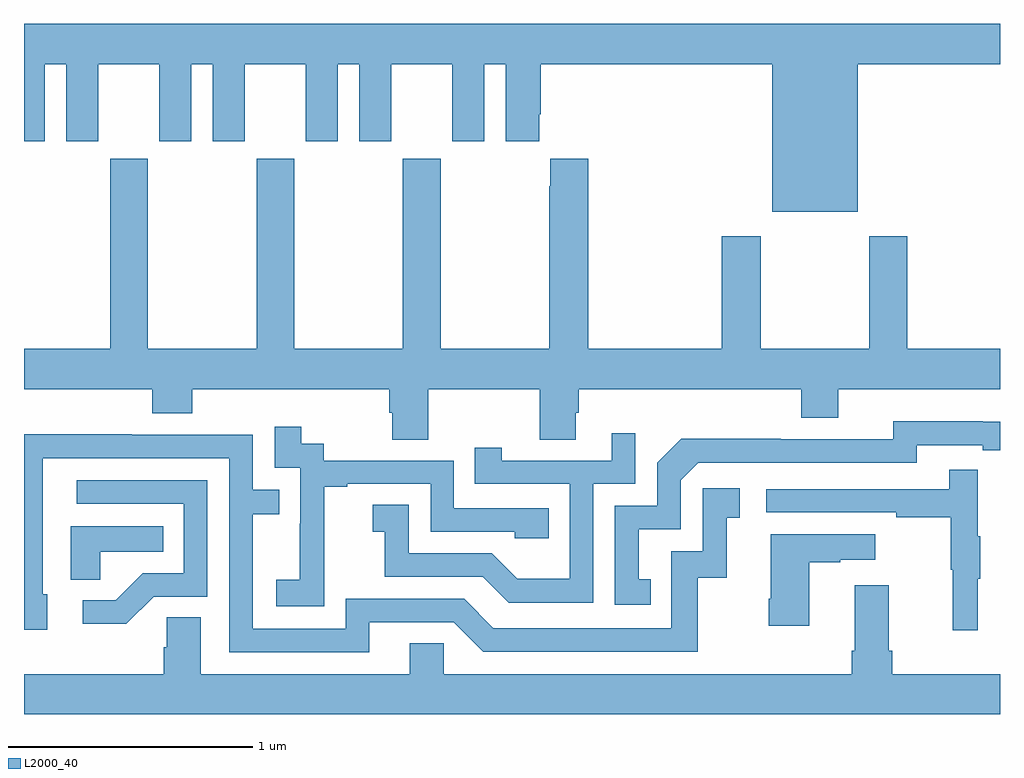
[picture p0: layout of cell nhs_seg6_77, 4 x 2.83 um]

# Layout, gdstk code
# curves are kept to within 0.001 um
import gdstk
lib = gdstk.Library(unit=1e-6, precision=1e-09)
def P(c, l, *ps):  # polygons
    for p in ps: c.add(gdstk.Polygon(p, *l))
L2000_40 = (2000, 40)

nhs_seg6_77 = lib.new_cell('nhs_seg6_77')
P(nhs_seg6_77, L2000_40, [(116.416,992.624),(117,992.624),(117,992.788),(113,992.788),(113,992.307),(113.086,992.307),(113.086,992.624),(113.174,992.624),(113.174,992.307),(113.305,992.307),(113.305,992.624),(113.555,992.624),(113.555,992.307),(113.686,992.307),(113.686,992.624),(113.774,992.624),(113.774,992.307),(113.905,992.307),(113.905,992.624),(114.155,992.624),(114.155,992.307),(114.286,992.307),(114.286,992.624),(114.374,992.624),(114.374,992.307),(114.505,992.307),(114.505,992.624),(114.755,992.624),(114.755,992.307),(114.886,992.307),(114.886,992.624),(114.974,992.624),(114.974,992.307),(115.111,992.307),(115.111,992.419),(115.118,992.419),(115.118,992.624),(116.066,992.624),(116.066,992.018),(116.416,992.018)],
  [(114.657,991.292),(115.114,991.292),(115.114,991.084),(115.261,991.084),(115.261,991.194),(115.274,991.194),(115.274,991.292),(116.186,991.292),(116.186,991.175),(116.338,991.175),(116.338,991.292),(117,991.292),(117,991.456),(116.619,991.456),(116.619,991.918),(116.464,991.918),(116.464,991.456),(116.019,991.456),(116.019,991.918),(115.859,991.918),(115.859,991.456),(115.313,991.456),(115.313,992.236),(115.157,992.236),(115.157,992.123),(115.153,992.123),(115.153,991.456),(114.708,991.456),(114.708,992.236),(114.553,992.236),(114.553,991.456),(114.108,991.456),(114.108,992.236),(113.953,992.236),(113.953,991.456),(113.508,991.456),(113.508,992.236),(113.353,992.236),(113.353,991.456),(113,991.456),(113,991.292),(113.525,991.292),(113.525,991.193),(113.69,991.193),(113.69,991.292),(114.497,991.292),(114.497,991.194),(114.509,991.194),(114.509,991.084),(114.657,991.084)],
  [(115.568,990.513),(115.519,990.513),(115.519,990.717),(115.692,990.717),(115.692,990.918),(115.764,990.99),(116.658,990.99),(116.658,991.062),(116.93,991.062),(116.93,991.042),(117,991.042),(117,991.158),(116.562,991.159),(116.562,991.086),(116.102,991.086),(116.102,991.088),(115.694,991.088),(115.596,990.99),(115.596,990.813),(115.422,990.813),(115.422,990.408),(115.568,990.408)],
  [(114.231,990.607),(114.23,990.607),(114.23,990.891),(114.325,990.891),(114.325,990.903),(114.666,990.903),(114.666,990.708),(115.011,990.708),(115.011,990.681),(115.151,990.681),(115.151,990.804),(114.762,990.804),(114.762,990.999),(114.228,990.999),(114.228,991.068),(114.136,991.068),(114.136,991.138),(114.027,991.138),(114.027,990.969),(114.132,990.969),(114.132,990.74),(114.131,990.74),(114.131,990.511),(114.033,990.511),(114.033,990.401),(114.231,990.401)],
  [(115.332,990.903),(115.506,990.903),(115.506,991.111),(115.409,991.111),(115.409,990.999),(114.958,990.999),(114.958,991.051),(114.847,991.051),(114.847,990.903),(115.236,990.903),(115.236,990.514),(115.022,990.514),(114.918,990.618),(114.576,990.618),(114.576,990.817),(114.429,990.817),(114.429,990.707),(114.478,990.707),(114.478,990.522),(114.881,990.522),(114.986,990.417),(115.332,990.417)],
  [(114.415,990.336),(114.762,990.336),(114.882,990.216),(115.762,990.216),(115.762,990.519),(115.88,990.519),(115.88,990.765),(115.933,990.765),(115.933,990.886),(115.782,990.886),(115.782,990.627),(115.653,990.627),(115.653,990.312),(114.924,990.312),(114.804,990.432),(114.318,990.432),(114.318,990.309),(113.937,990.309),(113.937,990.778),(114.047,990.778),(114.047,990.879),(113.937,990.879),(113.937,991.104),(113.441,991.104),(113.441,991.106),(113,991.106),(113,990.306),(113.095,990.306),(113.095,990.45),(113.076,990.45),(113.076,991.008),(113.841,991.008),(113.841,990.213),(114.415,990.213)],
  [(116.909,990.515),(116.92,990.515),(116.92,990.689),(116.909,990.689),(116.909,990.961),(116.791,990.961),(116.791,990.882),(116.043,990.882),(116.043,990.786),(116.575,990.786),(116.575,990.766),(116.799,990.766),(116.799,990.552),(116.806,990.552),(116.806,990.303),(116.909,990.303)],
  [(113.532,990.441),(113.751,990.441),(113.751,990.918),(113.217,990.918),(113.217,990.822),(113.655,990.822),(113.655,990.537),(113.486,990.537),(113.375,990.426),(113.241,990.426),(113.241,990.329),(113.419,990.329)],
  [(113.313,990.626),(113.57,990.626),(113.57,990.73),(113.192,990.73),(113.192,990.511),(113.313,990.511)],
  [(116.218,990.583),(116.345,990.583),(116.345,990.593),(116.488,990.593),(116.488,990.697),(116.06,990.697),(116.06,990.433),(116.053,990.433),(116.053,990.321),(116.218,990.321)],
  [(117,990.124),(116.558,990.124),(116.558,990.22),(116.545,990.22),(116.545,990.487),(116.405,990.487),(116.405,990.22),(116.393,990.22),(116.393,990.124),(114.72,990.124),(114.72,990.251),(114.581,990.251),(114.581,990.124),(113.725,990.124),(113.725,990.356),(113.586,990.356),(113.586,990.233),(113.573,990.233),(113.573,990.124),(113,990.124),(113,989.96),(117,989.96)])

lib.write_gds('nhs_seg6_77.gds')
